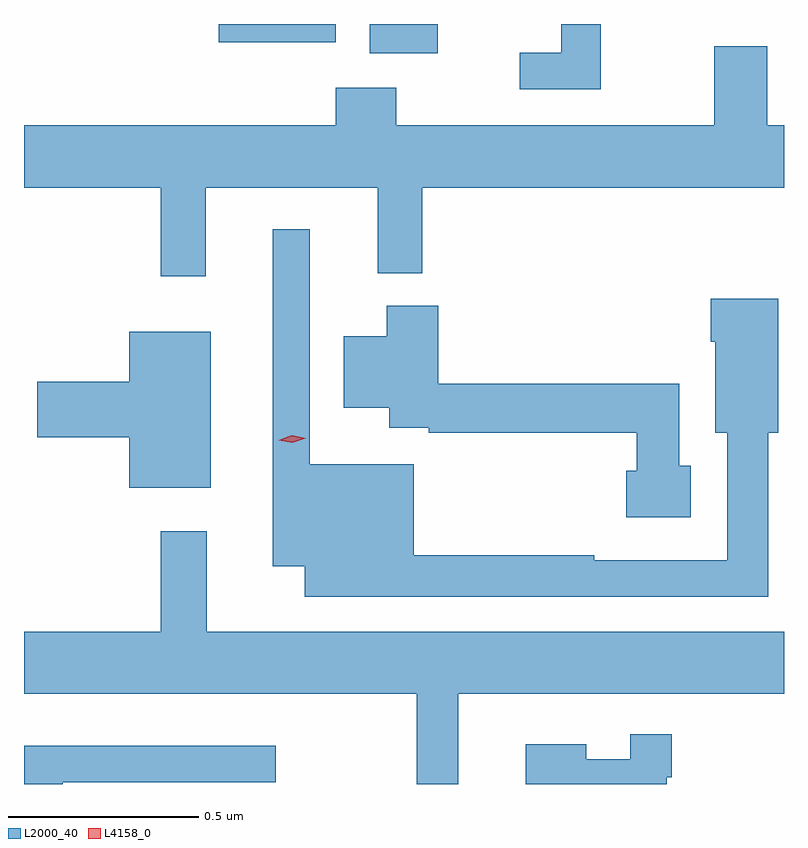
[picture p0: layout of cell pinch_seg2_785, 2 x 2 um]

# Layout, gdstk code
import gdstk
lib = gdstk.Library(unit=1e-6, precision=1e-09)
def R(c, l, rs):  # rectangles x0, y0, x1, y1
    for r in rs: c.add(gdstk.rectangle(r[:2], r[2:], *l))
def P(c, l, *ps):  # polygons
    for p in ps: c.add(gdstk.Polygon(p, *l))
L2000_40 = (2000, 40)
L4158_0 = (4158, 0)

pinch_seg2_785 = lib.new_cell('pinch_seg2_785')
R(pinch_seg2_785, L2000_40, [(730.757,638.666,730.936,638.743), (730.359,638.695,730.668,638.743)])
P(pinch_seg2_785, L2000_40, [(731.365,638.743),(731.261,638.743),(731.261,638.667),(731.151,638.667),(731.151,638.571),(731.365,638.571)],
  [(730.325,638.312),(730.778,638.312),(730.778,638.087),(730.895,638.087),(730.895,638.312),(731.847,638.312),(731.847,638.476),(731.803,638.476),(731.803,638.684),(731.663,638.684),(731.663,638.476),(730.827,638.476),(730.827,638.575),(730.667,638.575),(730.667,638.476),(729.847,638.476),(729.847,638.312),(730.207,638.312),(730.207,638.079),(730.325,638.079)],
  [(731.806,637.667),(731.832,637.667),(731.832,638.02),(731.654,638.02),(731.654,637.907),(731.666,637.907),(731.666,637.667),(731.697,637.667),(731.697,637.332),(731.348,637.332),(731.348,637.345),(730.873,637.345),(730.873,637.585),(730.599,637.585),(730.599,638.203),(730.502,638.203),(730.502,637.316),(730.586,637.316),(730.586,637.236),(731.806,637.236)],
  [(731.602,637.58),(731.571,637.58),(731.571,637.796),(730.937,637.796),(730.937,638.002),(730.802,638.002),(730.802,637.921),(730.688,637.921),(730.688,637.733),(730.808,637.733),(730.808,637.68),(730.912,637.68),(730.912,637.668),(731.459,637.668),(731.459,637.567),(731.432,637.567),(731.432,637.445),(731.602,637.445)],
  [(730.339,637.933),(730.124,637.933),(730.124,637.802),(729.882,637.802),(729.882,637.655),(730.124,637.655),(730.124,637.523),(730.339,637.523)],
  [(730.99,636.98),(731.847,636.98),(731.847,637.144),(730.328,637.144),(730.328,637.408),(730.207,637.408),(730.207,637.144),(729.847,637.144),(729.847,636.98),(730.881,636.98),(730.881,636.743),(730.99,636.743)],
  [(731.538,636.761),(731.551,636.761),(731.551,636.874),(731.442,636.874),(731.442,636.808),(731.326,636.808),(731.326,636.847),(731.168,636.847),(731.168,636.743),(731.538,636.743)],
  [(729.949,636.747),(730.51,636.747),(730.51,636.844),(729.847,636.844),(729.847,636.743),(729.949,636.743)])
P(pinch_seg2_785, L4158_0, [(730.553,637.641),(730.517,637.648),(730.517,637.648),(730.517,637.648),(730.552,637.661),(730.588,637.653),(730.589,637.653),(730.588,637.653)])

lib.write_gds('pinch_seg2_785.gds')
